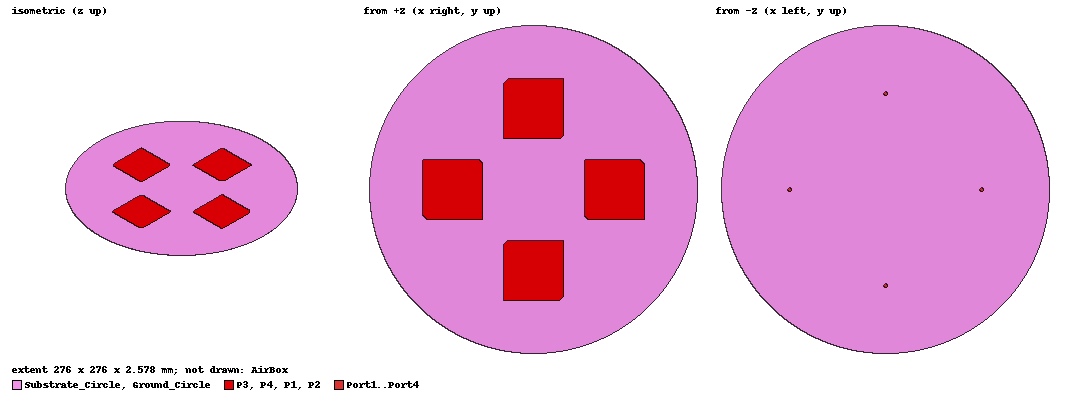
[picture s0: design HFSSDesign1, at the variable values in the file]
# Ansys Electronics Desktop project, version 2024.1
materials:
  vacuum: permittivity=1
  copper: permeability=0.999991 conductivity=58000000
  Rogers RO4003 (tm): permittivity=3.55 dielectric_loss_tangent=0.0027
  glass_PTFEreinf: permittivity=2.5 dielectric_loss_tangent=0.002
  air: permittivity=1.0006 permeability=1.0000004

design HFSSDesign1 (HFSS, HFSS Modal Network, model units mm)
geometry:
  Ground_Circle [copper] = cylinder(axis=Z, base_centre=(0mm, 0mm, 0mm), radius=138mm, height=0.035mm)
  GroundHole1 = cylinder(axis=Z, base_centre=(0mm, 81.0032mm, 0mm), radius=1.6mm, height=0.035mm)
  GroundHole2 = cylinder(axis=Z, base_centre=(0mm, 81.0032mm, 0mm), radius=1.6mm, height=0.035mm)
  GroundHole3 = cylinder(axis=Z, base_centre=(0mm, 81.0032mm, 0mm), radius=1.6mm, height=0.035mm)
  GroundHole4 = cylinder(axis=Z, base_centre=(0mm, 81.0032mm, 0mm), radius=1.6mm, height=0.035mm)
  GroundHole2.rotate(axis=Z, angle=90deg)
  GroundHole3.rotate(axis=Z, angle=180deg)
  GroundHole4.rotate(axis=Z, angle=270deg)
  Ground_Circle.subtract(GroundHole1..GroundHole4)
  Substrate_Circle [Rogers RO4003 (tm)] = cylinder(axis=Z, base_centre=(0mm, 0mm, 0.035mm), radius=138mm, height=0.508mm)
  SubstrateHole = cylinder(axis=Z, base_centre=(0mm, 81.0032mm, 0.035mm), radius=0.8mm, height=0.508mm)
  SubstrateHole1 = cylinder(axis=Z, base_centre=(0mm, 81.0032mm, 0.035mm), radius=0.8mm, height=0.508mm)
  SubstrateHole2 = cylinder(axis=Z, base_centre=(0mm, 81.0032mm, 0.035mm), radius=0.8mm, height=0.508mm)
  SubstrateHole3 = cylinder(axis=Z, base_centre=(0mm, 81.0032mm, 0.035mm), radius=0.8mm, height=0.508mm)
  SubstrateHole1.rotate(axis=Z, angle=90deg)
  SubstrateHole2.rotate(axis=Z, angle=180deg)
  SubstrateHole3.rotate(axis=Z, angle=270deg)
  Substrate_Circle.subtract(SubstrateHole, SubstrateHole1, SubstrateHole2, SubstrateHole3)
  P1 [copper] = box(corner=(-25mm, 43mm, 0.543mm), size=(50mm, 50mm, 0.035mm))
  P2 [copper] = box(corner=(43mm, -25mm, 0.543mm), size=(50mm, 50mm, 0.035mm))
  P3 [copper] = box(corner=(-25mm, -93mm, 0.543mm), size=(50mm, 50mm, 0.035mm))
  P4 [copper] = box(corner=(-93mm, -25mm, 0.543mm), size=(50mm, 50mm, 0.035mm))
  Truncation1 = polyline(z=0.578mm, xy in mm: (-25, 93) (-22, 93) (-25, 90), closed, covered)
  Truncation1.thicken(0.035mm)
  Truncation2 = polyline(z=0.578mm, xy in mm: (25, 43) (22, 43) (25, 46), closed, covered)
  Truncation2.thicken(0.035mm)
  Truncation3 = polyline(z=0.578mm, xy in mm: (-25, 93) (-22, 93) (-25, 90), closed, covered)
  Truncation3.thicken(0.035mm)
  Truncation4 = polyline(z=0.578mm, xy in mm: (25, 43) (22, 43) (25, 46), closed, covered)
  Truncation4.thicken(0.035mm)
  Truncation5 = polyline(z=0.578mm, xy in mm: (-25, 93) (-22, 93) (-25, 90), closed, covered)
  Truncation5.thicken(0.035mm)
  Truncation6 = polyline(z=0.578mm, xy in mm: (25, 43) (22, 43) (25, 46), closed, covered)
  Truncation6.thicken(0.035mm)
  Truncation7 = polyline(z=0.578mm, xy in mm: (-25, 93) (-22, 93) (-25, 90), closed, covered)
  Truncation7.thicken(0.035mm)
  Truncation8 = polyline(z=0.578mm, xy in mm: (25, 43) (22, 43) (25, 46), closed, covered)
  Truncation8.thicken(0.035mm)
  [Truncation3, Truncation4].rotate(axis=Z, angle=90deg)
  [Truncation5, Truncation6].rotate(axis=Z, angle=180deg)
  [Truncation7, Truncation8].rotate(axis=Z, angle=270deg)
  P1.subtract(Truncation1, Truncation2)
  P2.subtract(Truncation7, Truncation8)
  P3.subtract(Truncation5, Truncation6)
  P4.subtract(Truncation3, Truncation4)
  CoaxCover1 [glass_PTFEreinf] = cylinder(axis=Z, base_centre=(0, 81.0032mm, 0mm), radius=1.6mm, height=-2mm)
  CoaxCover2 [glass_PTFEreinf] = cylinder(axis=Z, base_centre=(0, 81.0032mm, 0mm), radius=1.6mm, height=-2mm)
  CoaxCover3 [glass_PTFEreinf] = cylinder(axis=Z, base_centre=(0, 81.0032mm, 0mm), radius=1.6mm, height=-2mm)
  CoaxCover4 [glass_PTFEreinf] = cylinder(axis=Z, base_centre=(0, 81.0032mm, 0mm), radius=1.6mm, height=-2mm)
  CoaxCover2.rotate(axis=Z, angle=90deg)
  CoaxCover3.rotate(axis=Z, angle=180deg)
  CoaxCover4.rotate(axis=Z, angle=270deg)
  Coax_Pin1 [copper] = cylinder(axis=Z, base_centre=(0mm, 81.0032mm, 0mm), radius=0.8mm, height=-2mm)
  Coax_Pin2 [copper] = cylinder(axis=Z, base_centre=(0mm, 81.0032mm, 0mm), radius=0.8mm, height=-2mm)
  Coax_Pin3 [copper] = cylinder(axis=Z, base_centre=(0mm, 81.0032mm, 0mm), radius=0.8mm, height=-2mm)
  Coax_Pin4 [copper] = cylinder(axis=Z, base_centre=(0mm, 81.0032mm, 0mm), radius=0.8mm, height=-2mm)
  Coax_Pin2.rotate(axis=Z, angle=90deg)
  Coax_Pin3.rotate(axis=Z, angle=180deg)
  Coax_Pin4.rotate(axis=Z, angle=270deg)
  Probe1 [copper] = cylinder(axis=Z, base_centre=(0mm, 81.0032mm, 0mm), radius=0.8mm, height=0.543mm)
  Probe2 [copper] = cylinder(axis=Z, base_centre=(0mm, 81.0032mm, 0mm), radius=0.8mm, height=0.543mm)
  Probe3 [copper] = cylinder(axis=Z, base_centre=(0mm, 81.0032mm, 0mm), radius=0.8mm, height=0.543mm)
  Probe4 [copper] = cylinder(axis=Z, base_centre=(0mm, 81.0032mm, 0mm), radius=0.8mm, height=0.543mm)
  Probe2.rotate(axis=Z, angle=90deg)
  Probe3.rotate(axis=Z, angle=180deg)
  Probe4.rotate(axis=Z, angle=270deg)
  AirBox [air] = box(corner=(-181.606mm, -181.606mm, 0mm), size=(363.213mm, 363.213mm, 48.184mm))
  Port1 = circle(normal=Z, centre=(0mm, 81.0032mm, -2mm), radius=1.6mm)
  Port2 = circle(normal=Z, centre=(0mm, 81.0032mm, -2mm), radius=1.6mm)
  Port3 = circle(normal=Z, centre=(0mm, 81.0032mm, -2mm), radius=1.6mm)
  Port4 = circle(normal=Z, centre=(0mm, 81.0032mm, -2mm), radius=1.6mm)
  Port2.rotate(axis=Z, angle=90deg)
  Port3.rotate(axis=Z, angle=180deg)
  Port4.rotate(axis=Z, angle=270deg)
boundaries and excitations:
  Rad1: Radiation Faces=AirBox.face(+z, -y, -x, +y, +x)
  1: Wave Port Objects=Port1 WavePortType=Modal NumModes=1 Modes{Mode1{CharImp=Zpi}}
  2: Wave Port Objects=Port2 WavePortType=Modal NumModes=1 Modes{Mode1{CharImp=Zpi}}
  3: Wave Port Objects=Port3 WavePortType=Modal NumModes=1 Modes{Mode1{CharImp=Zpi}}
  4: Wave Port Objects=Port4 WavePortType=Modal NumModes=1 Modes{Mode1{CharImp=Zpi}}
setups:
  Setup1: HfssDriven Frequency=1.57542GHz MaxDeltaS=0.02 MaximumPasses=20 MinimumPasses=1 MinimumConvergedPasses=1 PercentRefinement=30 BasisOrder=1 PortAccuracy=2 DrivenSolverType="Direct Solver"
    sweep Sweep: 1.55GHz to 1.6GHz, 10001 points; Type=Fast SaveFields
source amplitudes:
  1:1: 1W 0deg
  2:1: 1W -90deg
  3:1: 1W -180deg
  4:1: 1W -270deg
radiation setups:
  Infinite Sphere1: Infinite Sphere Theta=-180deg..180deg step 10deg Phi=0deg..360deg step 10deg
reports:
  S Parameter Plot 1: dB(S(1,1)) vs Freq on Setup1 : Sweep
  Axial Ratio Plot 1: dB(AxialRatioValue) vs Theta on Setup1 : LastAdaptive, Infinite Sphere1 [Phi=0deg Freq=1.57542GHz]; markers m1 at 0deg
